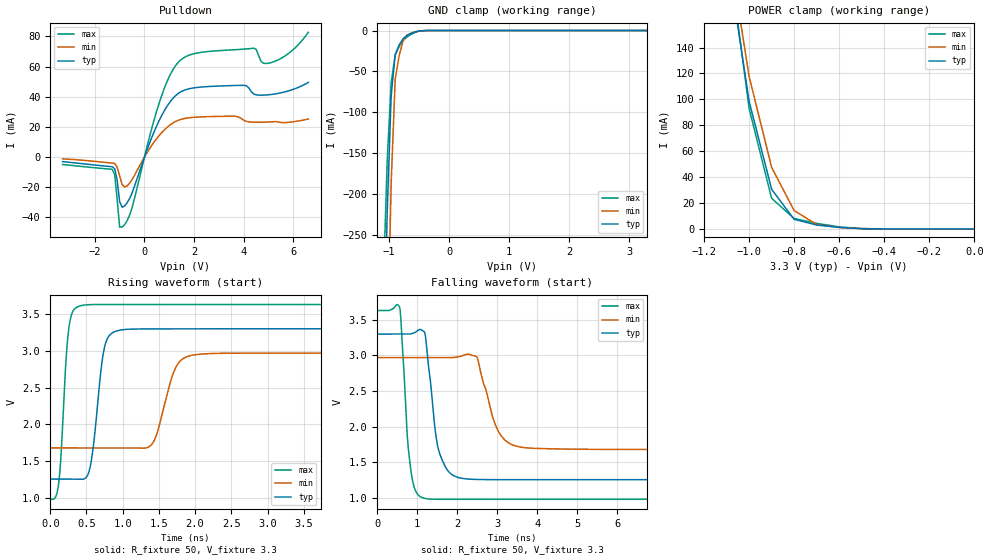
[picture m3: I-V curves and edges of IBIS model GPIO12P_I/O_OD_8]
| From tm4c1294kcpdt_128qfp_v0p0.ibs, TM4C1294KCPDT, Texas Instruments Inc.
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|   Model Cell GPIO12P_I/O_OD_8
[Model]   GPIO12P_I/O_OD_8
Model_type   I/O_open_drain
Polarity   Inverting
Enable   Active-Low
Vinl =  0.8
Vinh =  2
Cref =  15.0000pF
Rref =  100.0000M
Vref =  0V
Vmeas =  1.65
C_comp   6.029616p   5.226915p   6.778838p
[Model Spec]
Vinl   0.8   0.8   0.8
Vinh   2   2   2
[Temperature Range]   25   125   -40
[Voltage Range]   3.3   2.97   3.63
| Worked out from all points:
|   slope of the pulldown table from 0 to 0.495 V, typ, clamps not added: 23.8 ohm
|   GND clamp passes 1 mA (typ) near -0.53 V on its own axis
|   POWER clamp passes 1 mA (typ) near -0.58 V on its own axis
|   rising waveform, R_fixture 50, V_fixture 3.3: 20-80 % time 130ps typ, 213ps min, 90.2ps max; typ from 1.26 V to 3.3 V
|   falling waveform, R_fixture 50, V_fixture 3.3: 20-80 % time 264ps typ, 420ps min, 181ps max; typ from 3.3 V to 1.26 V
| Nom Voltages:
|   IBIASFET=3.3, VDDC=1.2, VDD=3.3, GND=0
| Min Voltages:
|   IBIASFET=2.97, VDDC=1.08, VDD=2.97, GND=0
| Max Voltages:
|   IBIASFET=3.63, VDDC=1.32, VDD=3.63, GND=0
[POWER_clamp]
|   voltage   I(typ)   I(min)   I(max)
-3.3V     3.668A     4.187A     4.057A
-1.067V   175.6mA    191.7mA    181.3mA
-1.033V   137.2mA    154.7mA    137.2mA
-1V       98.66mA    117.8mA    93.17mA
-900mV    30.66mA    47.6mA     23.68mA
-800mV    7.454mA    14.17mA    8.045mA
-700mV    3.021mA    3.466mA    4.326mA
-600mV    1.166mA    1.15mA     1.613mA
-500mV    219.7uA    295.1uA    245.5uA
0V        69.04pA    1.982nA    9.028pA
[Pulldown]
|   voltage   I(typ)   I(min)   I(max)
-3.3V     -3.019mA   -1.206mA   -4.938mA
-1.3V     -6.416mA   -4.007mA   -8.087mA
-1.2V     -7.65mA    -4.163mA   -11.69mA
-1V       -29.59mA   -12.56mA   -46.46mA
-900mV    -33.29mA   -18.21mA   -46.32mA
-500mV    -23.81mA   -14.98mA   -33.54mA
700mV     27.72mA    16.29mA    41.06mA
1.4V      42.61mA    24.62mA    63.44mA
4V        47.51mA    24.37mA    71.53mA
4.4V      41.79mA    23.1mA     72.14mA
5V        41.27mA    23.24mA    62.2mA
6.6V      49.45mA    25.19mA    82.65mA
[GND_clamp]
|   voltage   I(typ)   I(min)   I(max)
-3.3V     -18.01A    -17.27A    -18.6A
-1.1V     -459.9mA   -734.3mA   -318.7mA
-1.033V   -223.6mA   -411.6mA   -160.4mA
-966.7mV  -80.12mA   -186.8mA   -64.21mA
-900mV    -29.51mA   -59.8mA    -30.11mA
-833.3mV  -17.66mA   -30.4mA    -19.41mA
-766.7mV  -9.785mA   -12.28mA   -11.96mA
-700mV    -5.884mA   -5.445mA   -7.749mA
-500mV    -484.3uA   -573uA     -552.3uA
-366.7mV  -23.48uA   -48.41uA   -21.82uA
3.3V      69.03pA    6.412uA    7.794pA
[Ramp]
| variable   typ   min   max
dV/dt_f  1.2650696/0.26678168n 0.80180967/0.4261666n  1.6395763/0.18482632n
dV/dt_r  1.2553671/0.17228477n 0.89374271/0.29145616n  1.6086857/0.11867281n
R_load = 50
[Rising Waveform]
R_fixture = 50
V_fixture = 3.3
V_fixture_min = 2.97
V_fixture_max = 3.63
|   time   V(typ)   V(min)   V(max)
0s        1.258V     1.681V     982.6mV
122.7ps   1.258V     1.681V     1.256V
272.8ps   1.258V     1.681V     3.411V
473.4ps   1.263V     1.681V     3.623V
750.1ps   3.054V     1.681V     3.63V
1.03ns    3.29V      1.681V     3.63V
1.394ns   3.299V     1.72V      3.63V
1.734ns   3.299V     2.776V     3.63V
2.106ns   3.3V       2.958V     3.63V
20.05ns   3.3V       2.97V      3.63V
[Falling Waveform]
R_fixture = 50
V_fixture = 3.3
V_fixture_min = 2.97
V_fixture_max = 3.63
|   time   V(typ)   V(min)   V(max)
0s        3.3V       2.97V      3.63V
562.4ps   3.3V       2.97V      3.678V
845.2ps   3.304V     2.97V      1.378V
1.221ns   3.208V     2.97V      991.3mV
1.535ns   1.677V     2.97V      982.4mV
2.078ns   1.281V     2.986V     982.7mV
2.493ns   1.261V     2.979V     982.8mV
3.014ns   1.258V     1.955V     982.8mV
3.595ns   1.258V     1.714V     982.8mV
20.05ns   1.258V     1.681V     982.8mV
